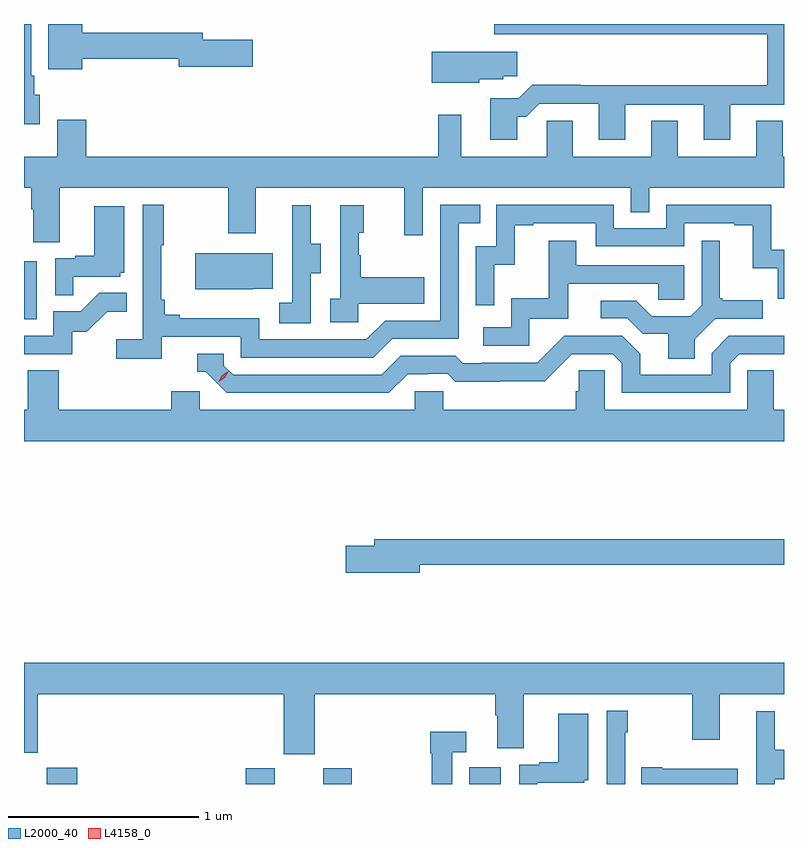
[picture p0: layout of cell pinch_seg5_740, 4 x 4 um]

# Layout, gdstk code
import gdstk
lib = gdstk.Library(unit=1e-6, precision=1e-09)
def R(c, l, rs):  # rectangles x0, y0, x1, y1
    for r in rs: c.add(gdstk.rectangle(r[:2], r[2:], *l))
def P(c, l, *ps):  # polygons
    for p in ps: c.add(gdstk.Polygon(p, *l))
L2000_40 = (2000, 40)
L4158_0 = (4158, 0)

pinch_seg5_740 = lib.new_cell('pinch_seg5_740')
R(pinch_seg5_740, L2000_40, [(865.282,909.567,865.442,909.652), (866.33,909.567,866.482,909.651), (866.738,909.567,866.886,909.651), (867.506,909.567,867.67,909.655), (865.162,912.012,865.228,912.319)])
P(pinch_seg5_740, L2000_40, [(867.757,913.079),(867.806,913.079),(867.873,913.146),(868.187,913.146),(868.187,912.957),(868.327,912.957),(868.327,913.143),(868.739,913.143),(868.739,912.957),(868.879,912.957),(868.879,913.143),(869.162,913.143),(869.162,913.567),(867.638,913.567),(867.638,913.514),(869.075,913.514),(869.075,913.244),(868.091,913.244),(868.091,913.247),(867.836,913.247),(867.765,913.176),(867.617,913.176),(867.617,912.957),(867.757,912.957)],
  [(865.246,913.194),(865.216,913.194),(865.216,913.294),(865.201,913.294),(865.201,913.567),(865.162,913.567),(865.162,913.04),(865.246,913.04)],
  [(865.468,913.384),(865.976,913.384),(865.976,913.342),(866.365,913.342),(866.365,913.484),(866.104,913.484),(866.104,913.52),(865.468,913.52),(865.468,913.567),(865.289,913.567),(865.289,913.328),(865.468,913.328)],
  [(867.558,913.277),(867.684,913.277),(867.684,913.291),(867.757,913.291),(867.757,913.42),(867.308,913.42),(867.308,913.259),(867.558,913.259)],
  [(865.351,912.704),(866.236,912.704),(866.236,912.465),(866.383,912.465),(866.383,912.704),(867.164,912.704),(867.164,912.456),(867.261,912.456),(867.261,912.704),(868.356,912.704),(868.356,912.577),(868.452,912.577),(868.452,912.704),(869.162,912.704),(869.162,912.868),(869.155,912.868),(869.155,913.058),(869.015,913.058),(869.015,912.868),(868.603,912.868),(868.603,913.058),(868.463,913.058),(868.463,912.868),(868.051,912.868),(868.051,913.058),(867.912,913.058),(867.912,912.868),(867.463,912.868),(867.463,913.09),(867.342,913.09),(867.342,912.868),(865.49,912.868),(865.49,913.063),(865.337,913.063),(865.337,912.868),(865.162,912.868),(865.162,912.704),(865.199,912.704),(865.199,912.592),(865.211,912.592),(865.211,912.418),(865.351,912.418)],
  [(865.886,911.922),(866.304,911.922),(866.304,911.811),(867.001,911.811),(867.1,911.91),(867.45,911.91),(867.45,912.519),(867.563,912.519),(867.563,912.615),(867.354,912.615),(867.354,912.006),(867.063,912.006),(866.964,911.907),(866.4,911.907),(866.4,912.019),(865.981,912.019),(865.981,912.038),(865.904,912.038),(865.904,912.115),(865.885,912.115),(865.885,912.403),(865.897,912.403),(865.897,912.616),(865.788,912.616),(865.788,911.908),(865.647,911.908),(865.647,911.806),(865.886,911.806)],
  [(867.636,912.299),(867.746,912.299),(867.746,912.507),(867.841,912.507),(867.841,912.519),(868.17,912.519),(868.17,912.396),(868.638,912.396),(868.638,912.519),(868.901,912.519),(868.901,912.507),(868.997,912.507),(868.997,912.281),(869.13,912.281),(869.13,912.12),(869.162,912.12),(869.162,912.379),(869.094,912.379),(869.094,912.615),(868.542,912.615),(868.542,912.492),(868.266,912.492),(868.266,912.615),(867.648,912.615),(867.648,912.396),(867.54,912.396),(867.54,912.087),(867.636,912.087)],
  [(866.67,912.256),(866.725,912.256),(866.725,912.411),(866.671,912.411),(866.671,912.613),(866.573,912.613),(866.573,912.399),(866.574,912.399),(866.574,912.099),(866.505,912.099),(866.505,911.992),(866.67,911.992)],
  [(866.922,912.095),(867.269,912.095),(867.269,912.235),(866.935,912.235),(866.935,912.35),(866.925,912.35),(866.925,912.468),(866.95,912.468),(866.95,912.613),(866.826,912.613),(866.826,912.122),(866.775,912.122),(866.775,911.997),(866.922,911.997)],
  [(865.421,912.237),(865.668,912.237),(865.668,912.258),(865.69,912.258),(865.69,912.607),(865.532,912.607),(865.532,912.346),(865.433,912.346),(865.433,912.333),(865.326,912.333),(865.326,912.139),(865.421,912.139)],
  [(868.693,911.908),(868.8,912.015),(869.05,912.015),(869.05,912.112),(868.837,912.112),(868.837,912.124),(868.825,912.124),(868.825,912.427),(868.728,912.427),(868.728,912.087),(868.671,912.03),(868.465,912.03),(868.384,912.111),(868.197,912.111),(868.197,912.018),(868.338,912.018),(868.418,911.938),(868.553,911.938),(868.553,911.806),(868.693,911.806)],
  [(867.822,912.015),(868.027,912.015),(868.027,912.201),(868.501,912.201),(868.501,912.117),(868.638,912.117),(868.638,912.297),(868.069,912.297),(868.069,912.427),(867.925,912.427),(867.925,912.124),(867.726,912.124),(867.726,911.97),(867.579,911.97),(867.579,911.874),(867.822,911.874)],
  [(866.369,912.173),(866.471,912.173),(866.471,912.361),(866.063,912.361),(866.063,912.17),(866.369,912.17)],
  [(865.416,911.946),(865.492,911.946),(865.599,912.053),(865.703,912.053),(865.703,912.152),(865.559,912.152),(865.461,912.054),(865.317,912.054),(865.317,911.925),(865.162,911.925),(865.162,911.829),(865.416,911.829)],
  [(867.181,911.724),(867.288,911.724),(867.288,911.727),(867.391,911.727),(867.433,911.685),(867.666,911.685),(867.666,911.687),(867.902,911.687),(868.044,911.829),(868.26,911.829),(868.308,911.781),(868.308,911.625),(868.878,911.625),(868.878,911.781),(868.926,911.829),(869.162,911.829),(869.162,911.927),(869.088,911.927),(869.088,911.925),(868.872,911.925),(868.782,911.835),(868.782,911.721),(868.405,911.721),(868.405,911.831),(868.311,911.925),(868.005,911.925),(867.864,911.784),(867.571,911.784),(867.571,911.781),(867.472,911.781),(867.433,911.82),(867.144,911.82),(867.045,911.721),(866.262,911.721),(866.214,911.769),(866.214,911.832),(866.075,911.832),(866.075,911.736),(866.118,911.736),(866.229,911.625),(867.082,911.625)],
  [(865.937,911.634),(865.937,911.536),(865.346,911.536),(865.346,911.744),(865.181,911.744),(865.181,911.536),(865.162,911.536),(865.162,911.372),(869.162,911.372),(869.162,911.536),(869.107,911.536),(869.107,911.744),(868.968,911.744),(868.968,911.536),(868.218,911.536),(868.218,911.744),(868.081,911.744),(868.081,911.634),(868.067,911.634),(868.067,911.536),(867.369,911.536),(867.369,911.634),(867.219,911.634),(867.219,911.536),(866.088,911.536),(866.088,911.634)],
  [(867.244,910.72),(869.162,910.72),(869.162,910.856),(867.005,910.856),(867.005,910.82),(866.856,910.82),(866.856,910.678),(867.244,910.678)],
  [(866.692,910.04),(867.641,910.04),(867.641,909.928),(867.653,909.928),(867.653,909.754),(867.793,909.754),(867.793,910.04),(868.678,910.04),(868.678,909.801),(868.825,909.801),(868.825,910.04),(869.162,910.04),(869.162,910.204),(865.162,910.204),(865.162,909.731),(865.234,909.731),(865.234,910.04),(866.528,910.04),(866.528,909.723),(866.692,909.723)],
  [(868.326,909.839),(868.339,909.839),(868.339,909.952),(868.23,909.952),(868.23,909.567),(868.326,909.567)],
  [(869.112,909.592),(869.162,909.592),(869.162,909.747),(869.113,909.747),(869.113,909.949),(869.015,909.949),(869.015,909.735),(869.016,909.735),(869.016,909.567),(869.112,909.567)],
  [(867.863,909.573),(868.11,909.573),(868.11,909.588),(868.132,909.588),(868.132,909.937),(867.974,909.937),(867.974,909.682),(867.875,909.682),(867.875,909.669),(867.768,909.669),(867.768,909.567),(867.863,909.567)],
  [(867.417,909.735),(867.49,909.735),(867.49,909.841),(867.301,909.841),(867.301,909.728),(867.309,909.728),(867.309,909.567),(867.417,909.567)],
  [(868.919,909.646),(868.522,909.646),(868.522,909.654),(868.411,909.654),(868.411,909.567),(868.919,909.567)])
P(pinch_seg5_740, L4158_0, [(866.188,911.685),(866.188,911.686),(866.205,911.718),(866.235,911.737),(866.236,911.737),(866.236,911.737),(866.219,911.704),(866.188,911.685)])

lib.write_gds('pinch_seg5_740.gds')
